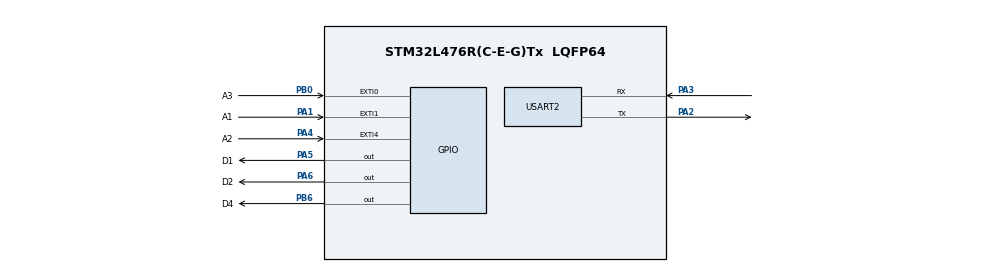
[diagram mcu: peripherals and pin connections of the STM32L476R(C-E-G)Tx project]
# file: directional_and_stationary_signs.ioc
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Mcu.Family=STM32L4
Mcu.Name=STM32L476R(C-E-G)Tx
Mcu.Package=LQFP64
NVIC.EXTI0_IRQn=true\:0\:0\:false\:false\:true\:true\:true\:true
NVIC.EXTI1_IRQn=true\:0\:0\:false\:false\:true\:true\:true\:true
NVIC.EXTI4_IRQn=true\:0\:0\:false\:false\:true\:true\:true\:true
NVIC.PriorityGroup=NVIC_PRIORITYGROUP_4
PA1.GPIO_Label=A1
PA1.GPIO_ModeDefaultEXTI=GPIO_MODE_IT_FALLING
PA1.Signal=GPXTI1
PA2.Mode=Asynchronous
PA2.Signal=USART2_TX
PA3.Mode=Asynchronous
PA3.Signal=USART2_RX
PA4.GPIO_Label=A2
PA4.GPIO_ModeDefaultEXTI=GPIO_MODE_IT_FALLING
PA4.Signal=GPXTI4
PA5.GPIO_Label=D1
PA5.PinState=GPIO_PIN_SET
PA5.Signal=GPIO_Output
PA6.GPIO_Label=D2
PA6.PinState=GPIO_PIN_SET
PA6.Signal=GPIO_Output
PB0.GPIO_Label=A3
PB0.GPIO_ModeDefaultEXTI=GPIO_MODE_IT_FALLING
PB0.Signal=GPXTI0
PB6.GPIO_Label=D4
PB6.PinState=GPIO_PIN_SET
PB6.Signal=GPIO_Output
ProjectManager.HeapSize=0x200
ProjectManager.StackSize=0x400
ProjectManager.TargetToolchain=STM32CubeIDE
RCC.HSE_VALUE=8000000
RCC.HSI_VALUE=16000000
RCC.LSE_VALUE=32768
RCC.MSI_VALUE=4000000
RCC.VCOOutputFreq_Value=32000000
USART2.VirtualMode-Asynchronous=VM_ASYNC
board=custom

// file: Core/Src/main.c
/* USER CODE BEGIN Header */
/**
  ******************************************************************************
  * @file           : main.c
  * @brief          : Main program body
  ******************************************************************************
  * @attention
  *
  * Copyright (c) 2024 STMicroelectronics.
  * All rights reserved.
  *
  * This software is licensed under terms that can be found in the LICENSE file
  * in the root directory of this software component.
  * If no LICENSE file comes with this software, it is provided AS-IS.
  *
  ******************************************************************************
  */
/* USER CODE END Header */
#include "main.h"
#include <stdbool.h>

UART_HandleTypeDef huart2;
uint32_t last_press_time[3] = {0}; 	// Array que almacena el tiempo de A1, A2 y A3
bool leftLightBlinking = false;		// Variable que indica si oprimieron dos veces o no la direccional izquierda
bool rightLightBlinking = false;	// Variable que indica si oprimieron dos veces o no la direccional derecha
uint32_t last_double_press = 0;		// Último registro de doble pulsación

// Contadores para las veces que las direccionales van a parpadear
uint32_t cont_left = 0;
uint32_t cont_right = 0;
uint32_t into_stationary = 0;

uint8_t index_pines = 0; //índice botónn presionado

bool status_stationary = false; //variable booleana que indica el estado de las luces estacionarias

void SystemClock_Config(void);
static void MX_GPIO_Init(void);
static void MX_USART2_UART_Init(void);

/* USER CODE BEGIN 0 */
void HAL_GPIO_EXTI_Callback(uint16_t GPIO_Pin)
{
  /* Prevent unused argument(s) compilation warning */
  UNUSED(GPIO_Pin);

  uint32_t current_time = HAL_GetTick();	// Tiempo transcurrido de la última pulsación
  uint8_t index_btn;						// índice del botón preionado

  // Para identificar el botón presionado:
  if(GPIO_Pin == A1_Pin){
	  index_btn = 0;
	  index_pines = 0;
  }else if(GPIO_Pin == A2_Pin){
	  index_btn = 1;
	  index_pines = 1;
  }else if(GPIO_Pin == A3_Pin){
	  index_btn = 2;
	  index_pines = 2;
  }else{
	  HAL_UART_Transmit(&huart2, "NULL\r\n", 6,10);
	  return;
  }

  // se comprueba el tiempo de la última pulsación (Que no se pase de 200ms para evitar el "rebote"):
  if(current_time - last_press_time[index_btn] > 200){
	  last_press_time[index_btn] = current_time; // Actualiza el tiempo

	  // Se comprueba si se ha oprimido alguna direccional (izquierda o derecha) y que las estacionarias no estén encendidas:
	  if((index_btn == 0 || index_btn == 1) && (!status_stationary)){
		  uint32_t current_double_time = HAL_GetTick(); // Tiempo de las dobles pulsaciones

		  // Revisión si no se realizó dos veces la última pulsación en un tiempo menor o igual a los 300ms
		  if (current_double_time - last_double_press <= 300) {
			  // Si se realizó la doble pulsación :
			  if (index_btn == 0) {
			      leftLightBlinking = true;		// Encender indefinidamente la direccional izquierda
			      rightLightBlinking = false;	// Apagar la derecha si estaba encendida
			      HAL_UART_Transmit(&huart2, "Intro double Izquierda\r\n", 24,10);
			  } else {
				  rightLightBlinking = true;	// Encender indefinidamente la direccional derecha
				  leftLightBlinking = false;	// Apagar la izquierda si estaba encendida
				  HAL_UART_Transmit(&huart2, "Intro double Derecha\r\n", 22,10);
			  }
		  }else {
		      //Si no se realizó la doble pulsación :
			  last_double_press = current_double_time;

			  // Vemos si alguna variable de doble pulsación está activada para desactivarla:
			  if(rightLightBlinking || leftLightBlinking){

				  // Lógica para las direccionales de forma indefinida:

				  // Si la direccional derecha está encendida y se oprime el botón izquierdo:
				  if(index_btn == 0 && rightLightBlinking){
					  // Se apaga completamente la direccional derecha
					  rightLightBlinking = false;
					  cont_right = 0;
					  HAL_UART_Transmit(&huart2, "Apagado de la direccional indefinida Derecha\r\n", 46,10);
				  }
				  // Si la direccional izquierda está encendida y se oprime el botón derecho:
				  else if(index_btn == 1 && leftLightBlinking){
					  // Se apaga completamente la direccional izquierda
					  leftLightBlinking = false;
					  cont_left = 0;
					  HAL_UART_Transmit(&huart2, "Apagado de la direccional indefinida Izquierda\r\n", 48,10);
				  }
				  /*
				  de lo contrario no se realiza ninguna acción y se mantiene la direccional encendida.
				  */
			  }else{
				  /* Si no hay doble pulsación y no se tienen encendidas las direcionales de forma indefinida
				   * se realizan las acciones de las direccionales de forma "normal", se encienden tres veces.
				   */
				  if(index_btn == 0){
					  cont_left = 6;
					  cont_right = 0; // Para parar el derecho cuando se presione el izquierdo
					  HAL_UART_Transmit(&huart2, "Direccional izquierda\r\n", 23,10);
				  }else if(index_btn == 1){
					   cont_right = 6;
					   cont_left = 0; // Para parar el izquierdo cuando se presione el derecho
					  HAL_UART_Transmit(&huart2, "Direccional derecha\r\n", 21,10);
				  }
			  }
		    }
	  }else if (index_btn == 2) {
	            // Alternar estado de las luces estacionarias
		   if (!status_stationary) {
			// Encender las luces estacionarias
			   status_stationary = true;
			 }else {
				// Apagar las luces estacionarias
				status_stationary = false;
				index_pines = 0;
			 	}
		}
  	  }
 }

// Configuración del hearbeat:
void heartbeat(void){
	static uint32_t tick = 0;
	if(tick < HAL_GetTick()){
		tick = HAL_GetTick() + 1000;
		HAL_GPIO_TogglePin(D4_GPIO_Port, D4_Pin);
	}
}

void turn_signal_led_left(void){
	static uint32_t left_tick = 0;
	if(left_tick < HAL_GetTick()){
		if(cont_left > 0 || leftLightBlinking){
			left_tick =  HAL_GetTick() + 500;
			HAL_GPIO_TogglePin(D1_GPIO_Port, D1_Pin);
			/*// Si la direccional se enciende por leftLightBlinking = true,
			 * el contador no afectará hasta que se le asigne un número mayor a cero
			 * y leftLightBlinking = false (Lo que pasaría si se oprime solo una vez la direccional).
			 * Lo mismo pasa con la función de la direccional derecha.*/
			cont_left--;
		}else{
			HAL_GPIO_WritePin(D1_GPIO_Port, D1_Pin, 1);
		}
	}
}

void turn_signal_led_right(void){
	static uint32_t right_tick = 0;
	if(right_tick < HAL_GetTick()){
		if(cont_right > 0 || rightLightBlinking){
			right_tick = HAL_GetTick() + 500;
			HAL_GPIO_TogglePin(D2_GPIO_Port, D2_Pin);
			cont_right--;
		}else{
		HAL_GPIO_WritePin(D2_GPIO_Port, D2_Pin, 1);
		}
	}
}

//Se configura el comportamiento de las luces estacionarias.
void stationary(void){
	static uint32_t es_tick = 0;
	if(es_tick < HAL_GetTick()){
		if(status_stationary){
			es_tick =  HAL_GetTick() + 500;
			HAL_GPIO_TogglePin(D1_GPIO_Port, D1_Pin);
			HAL_GPIO_TogglePin(D2_GPIO_Port, D2_Pin);
		}else{
			HAL_GPIO_WritePin(D1_GPIO_Port, D1_Pin, 1);
			HAL_GPIO_WritePin(D2_GPIO_Port, D2_Pin, 1);
		}
	}
}

/* USER CODE END 0 */

int main(void)
{

  /* MCU Configuration--------------------------------------------------------*/

  /* Reset of all peripherals, Initializes the Flash interface and the Systick. */
  HAL_Init();

  /* Configure the system clock */
  SystemClock_Config();

  /* Initialize all configured peripherals */
  MX_GPIO_Init();
  MX_USART2_UART_Init();

  /* Infinite loop */
  while (1)
  {
	  heartbeat();

	  	if(index_pines == 2){
	  		stationary();
	  		HAL_UART_Transmit(&huart2, "Into\r\n", 6,10);
	  	}else{
	      turn_signal_led_left();
	      turn_signal_led_right();
	  	}
  }
}

void SystemClock_Config(void)
{
  RCC_OscInitTypeDef RCC_OscInitStruct = {0};
  RCC_ClkInitTypeDef RCC_ClkInitStruct = {0};

  /** Configure the main internal regulator output voltage
  */
  if (HAL_PWREx_ControlVoltageScaling(PWR_REGULATOR_VOLTAGE_SCALE1) != HAL_OK)
  {
    Error_Handler();
  }

  /** Initializes the RCC Oscillators according to the specified parameters
  * in the RCC_OscInitTypeDef structure.
  */
  RCC_OscInitStruct.OscillatorType = RCC_OSCILLATORTYPE_MSI;
  RCC_OscInitStruct.MSIState = RCC_MSI_ON;
  RCC_OscInitStruct.MSICalibrationValue = 0;
  RCC_OscInitStruct.MSIClockRange = RCC_MSIRANGE_6;
  RCC_OscInitStruct.PLL.PLLState = RCC_PLL_NONE;
  if (HAL_RCC_OscConfig(&RCC_OscInitStruct) != HAL_OK)
  {
    Error_Handler();
  }

  /** Initializes the CPU, AHB and APB buses clocks
  */
  RCC_ClkInitStruct.ClockType = RCC_CLOCKTYPE_HCLK|RCC_CLOCKTYPE_SYSCLK
                              |RCC_CLOCKTYPE_PCLK1|RCC_CLOCKTYPE_PCLK2;
  RCC_ClkInitStruct.SYSCLKSource = RCC_SYSCLKSOURCE_MSI;
  RCC_ClkInitStruct.AHBCLKDivider = RCC_SYSCLK_DIV1;
  RCC_ClkInitStruct.APB1CLKDivider = RCC_HCLK_DIV1;
  RCC_ClkInitStruct.APB2CLKDivider = RCC_HCLK_DIV1;

  if (HAL_RCC_ClockConfig(&RCC_ClkInitStruct, FLASH_LATENCY_0) != HAL_OK)
  {
    Error_Handler();
  }
}

static void MX_USART2_UART_Init(void)
{

  huart2.Instance = USART2;
  huart2.Init.BaudRate = 115200;
  huart2.Init.WordLength = UART_WORDLENGTH_8B;
  huart2.Init.StopBits = UART_STOPBITS_1;
  huart2.Init.Parity = UART_PARITY_NONE;
  huart2.Init.Mode = UART_MODE_TX_RX;
  huart2.Init.HwFlowCtl = UART_HWCONTROL_NONE;
  huart2.Init.OverSampling = UART_OVERSAMPLING_16;
  huart2.Init.OneBitSampling = UART_ONE_BIT_SAMPLE_DISABLE;
  huart2.AdvancedInit.AdvFeatureInit = UART_ADVFEATURE_NO_INIT;
  if (HAL_UART_Init(&huart2) != HAL_OK)
  {
    Error_Handler();
  }

}

static void MX_GPIO_Init(void)
{
  GPIO_InitTypeDef GPIO_InitStruct = {0};

  /* GPIO Ports Clock Enable */
  __HAL_RCC_GPIOA_CLK_ENABLE();
  __HAL_RCC_GPIOB_CLK_ENABLE();

  /*Configure GPIO pin Output Level */
  HAL_GPIO_WritePin(GPIOA, D1_Pin|D2_Pin, GPIO_PIN_SET);

  /*Configure GPIO pin Output Level */
  HAL_GPIO_WritePin(D4_GPIO_Port, D4_Pin, GPIO_PIN_SET);

  /*Configure GPIO pins : A1_Pin A2_Pin */
  GPIO_InitStruct.Pin = A1_Pin|A2_Pin;
  GPIO_InitStruct.Mode = GPIO_MODE_IT_FALLING;
  GPIO_InitStruct.Pull = GPIO_NOPULL;
  HAL_GPIO_Init(GPIOA, &GPIO_InitStruct);

  /*Configure GPIO pins : D1_Pin D2_Pin */
  GPIO_InitStruct.Pin = D1_Pin|D2_Pin;
  GPIO_InitStruct.Mode = GPIO_MODE_OUTPUT_PP;
  GPIO_InitStruct.Pull = GPIO_NOPULL;
  GPIO_InitStruct.Speed = GPIO_SPEED_FREQ_LOW;
  HAL_GPIO_Init(GPIOA, &GPIO_InitStruct);

  /*Configure GPIO pin : A3_Pin */
  GPIO_InitStruct.Pin = A3_Pin;
  GPIO_InitStruct.Mode = GPIO_MODE_IT_FALLING;
  GPIO_InitStruct.Pull = GPIO_NOPULL;
  HAL_GPIO_Init(A3_GPIO_Port, &GPIO_InitStruct);

  /*Configure GPIO pin : D4_Pin */
  GPIO_InitStruct.Pin = D4_Pin;
  GPIO_InitStruct.Mode = GPIO_MODE_OUTPUT_PP;
  GPIO_InitStruct.Pull = GPIO_NOPULL;
  GPIO_InitStruct.Speed = GPIO_SPEED_FREQ_LOW;
  HAL_GPIO_Init(D4_GPIO_Port, &GPIO_InitStruct);

  /* EXTI interrupt init*/
  HAL_NVIC_SetPriority(EXTI0_IRQn, 0, 0);
  HAL_NVIC_EnableIRQ(EXTI0_IRQn);

  HAL_NVIC_SetPriority(EXTI1_IRQn, 0, 0);
  HAL_NVIC_EnableIRQ(EXTI1_IRQn);

  HAL_NVIC_SetPriority(EXTI4_IRQn, 0, 0);
  HAL_NVIC_EnableIRQ(EXTI4_IRQn);

}

void Error_Handler(void)
{
  __disable_irq();
  while (1)
  {
  }
}
